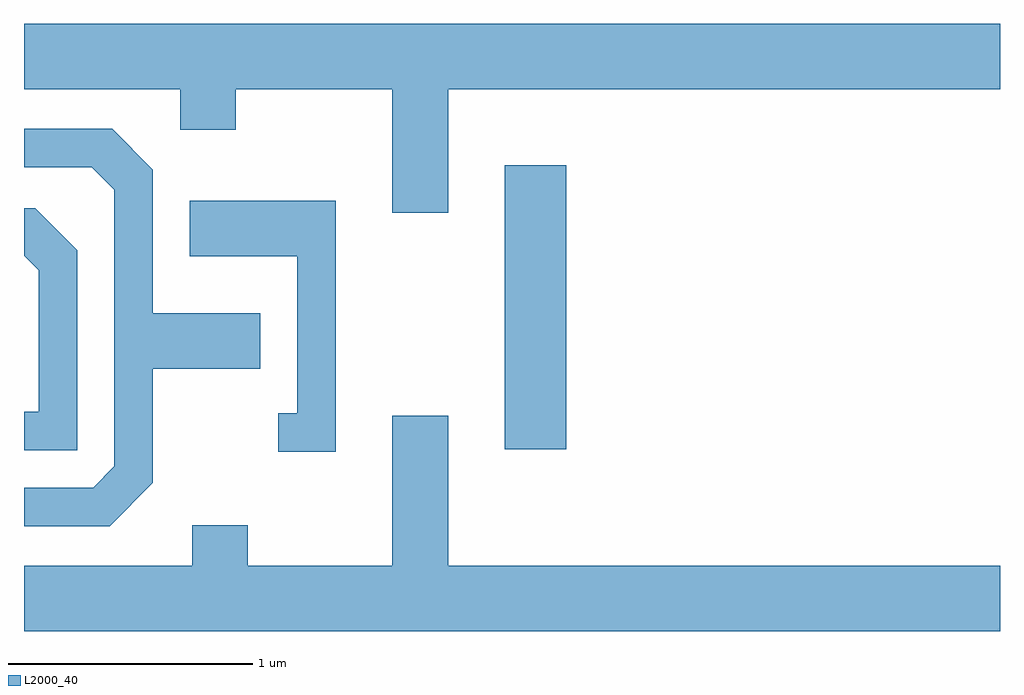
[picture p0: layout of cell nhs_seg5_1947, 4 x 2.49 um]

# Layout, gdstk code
import gdstk
lib = gdstk.Library(unit=1e-6, precision=1e-09)
def R(c, l, rs):  # rectangles x0, y0, x1, y1
    for r in rs: c.add(gdstk.rectangle(r[:2], r[2:], *l))
def P(c, l, *ps):  # polygons
    for p in ps: c.add(gdstk.Polygon(p, *l))
L2000_40 = (2000, 40)

nhs_seg5_1947 = lib.new_cell('nhs_seg5_1947')
R(nhs_seg5_1947, L2000_40, [(245.581,1404.261,245.834,1405.424)])
P(nhs_seg5_1947, L2000_40, [(245.349,1405.736),(247.611,1405.736),(247.611,1406.004),(243.611,1406.004),(243.611,1405.736),(244.251,1405.736),(244.251,1405.571),(244.479,1405.571),(244.479,1405.736),(245.121,1405.736),(245.121,1405.231),(245.349,1405.231)],
  [(244.139,1404.124),(244.139,1404.591),(244.579,1404.591),(244.579,1404.819),(244.139,1404.819),(244.139,1405.407),(243.972,1405.574),(243.611,1405.574),(243.611,1405.416),(243.889,1405.416),(243.981,1405.324),(243.981,1404.192),(243.894,1404.104),(243.611,1404.104),(243.611,1403.946),(243.962,1403.946)],
  [(244.889,1405.279),(244.291,1405.279),(244.291,1405.051),(244.731,1405.051),(244.731,1404.409),(244.653,1404.409),(244.653,1404.251),(244.889,1404.251)],
  [(243.829,1405.077),(243.657,1405.249),(243.611,1405.249),(243.611,1405.054),(243.671,1404.994),(243.671,1404.414),(243.611,1404.414),(243.611,1404.256),(243.829,1404.256)],
  [(247.611,1403.784),(245.349,1403.784),(245.349,1404.399),(245.121,1404.399),(245.121,1403.784),(244.529,1403.784),(244.529,1403.949),(244.301,1403.949),(244.301,1403.784),(243.611,1403.784),(243.611,1403.516),(247.611,1403.516)])

lib.write_gds('nhs_seg5_1947.gds')
